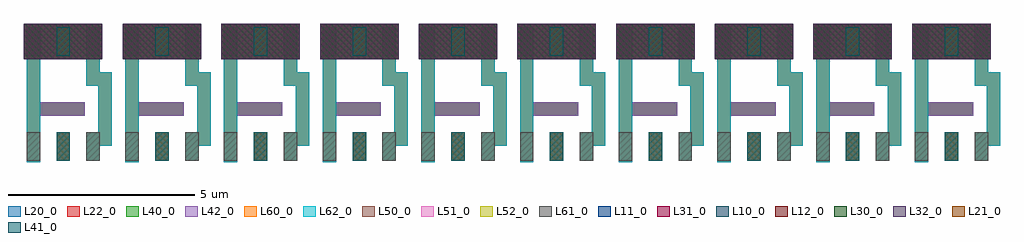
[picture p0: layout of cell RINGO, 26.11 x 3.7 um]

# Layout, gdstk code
import gdstk
lib = gdstk.Library(unit=1e-6, precision=1e-09)
def R(c, l, rs):  # rectangles x0, y0, x1, y1
    for r in rs: c.add(gdstk.rectangle(r[:2], r[2:], *l))
def A(c, l, x, y, w, h, nx, ny, dx, dy):  # array of equal rectangles
    R(c, l, [(x+i*dx, y+j*dy, x+i*dx+w, y+j*dy+h) for i in range(nx) for j in range(ny)])
def P(c, l, *ps):  # polygons
    for p in ps: c.add(gdstk.Polygon(p, *l))
L10_0 = (10, 0)
L11_0 = (11, 0)
L12_0 = (12, 0)
L20_0 = (20, 0)
L21_0 = (21, 0)
L22_0 = (22, 0)
L30_0 = (30, 0)
L31_0 = (31, 0)
L32_0 = (32, 0)
L40_0 = (40, 0)
L41_0 = (41, 0)
L42_0 = (42, 0)
L50_0 = (50, 0)
L51_0 = (51, 0)
L52_0 = (52, 0)
L60_0 = (60, 0)
L61_0 = (61, 0)
L62_0 = (62, 0)

trans = lib.new_cell('TRANS')
R(trans, L20_0, [(-0.58,-0.38,-0.22,0.38), (0.22,-0.38,0.58,0.38)])
R(trans, L22_0, [(-0.58,-0.38,-0.22,0.38), (0.22,-0.38,0.58,0.38)])
R(trans, L40_0, [(-0.58,-0.38,-0.22,0.38), (0.22,-0.38,0.58,0.38)])
R(trans, L42_0, [(-0.58,-0.38,-0.22,0.38), (0.22,-0.38,0.58,0.38)])
R(trans, L60_0, [(-0.58,-0.38,-0.22,0.38), (0.22,-0.38,0.58,0.38)])
R(trans, L61_0, [(-0.58,-0.38,-0.22,0.38), (0.22,-0.38,0.58,0.38)])
R(trans, L62_0, [(-0.58,-0.38,-0.22,0.38), (0.22,-0.38,0.58,0.38)])

inv2 = lib.new_cell('INV2')
R(inv2, L10_0, [(-1.05,2.325,1.05,3.275)])
R(inv2, L12_0, [(-1.05,2.325,1.05,3.275)])
R(inv2, L20_0, [(-0.98,-0.42,-0.62,-0.38)])
P(inv2, L20_0, [(-0.98,0.38),(-0.98,3.18),(-0.62,3.18),(-0.62,1.18),(0.58,1.18),(0.58,0.82),(-0.62,0.82),(-0.62,0.38)],
  [(-0.98,-0.42),(-0.98,2.42),(-0.62,2.42),(-0.62,1.18),(0.58,1.18),(0.58,0.82),(-0.62,0.82),(-0.62,-0.42)],
  [(0.98,0.02),(0.98,0.38),(0.94,0.38),(0.94,1.62),(0.62,1.62),(0.62,3.18),(0.98,3.18),(0.98,1.98),(1.3,1.98),(1.3,0.02)],
  [(0.62,-0.38),(0.62,0.38),(0.94,0.38),(0.94,1.62),(0.62,1.62),(0.62,2.42),(0.98,2.42),(0.98,1.98),(1.3,1.98),(1.3,0.02),(0.98,0.02),(0.98,-0.38)])
R(inv2, L21_0, [(-0.18,-0.38,0.18,0.38), (-0.18,2.42,0.18,3.18)])
R(inv2, L22_0, [(-0.98,-0.42,-0.62,-0.38)])
P(inv2, L22_0, [(-0.98,0.38),(-0.98,3.18),(-0.62,3.18),(-0.62,1.18),(0.58,1.18),(0.58,0.82),(-0.62,0.82),(-0.62,0.38)],
  [(-0.98,-0.42),(-0.98,2.42),(-0.62,2.42),(-0.62,1.18),(0.58,1.18),(0.58,0.82),(-0.62,0.82),(-0.62,-0.42)],
  [(0.98,0.02),(0.98,0.38),(0.94,0.38),(0.94,1.62),(0.62,1.62),(0.62,3.18),(0.98,3.18),(0.98,1.98),(1.3,1.98),(1.3,0.02)],
  [(0.62,-0.38),(0.62,0.38),(0.94,0.38),(0.94,1.62),(0.62,1.62),(0.62,2.42),(0.98,2.42),(0.98,1.98),(1.3,1.98),(1.3,0.02),(0.98,0.02),(0.98,-0.38)])
R(inv2, L30_0, [(-1.05,2.325,1.05,3.275)])
R(inv2, L32_0, [(-1.05,2.325,1.05,3.275)])
R(inv2, L40_0, [(-0.98,-0.42,-0.62,-0.38)])
P(inv2, L40_0, [(-0.98,0.38),(-0.98,3.18),(-0.62,3.18),(-0.62,1.18),(0.58,1.18),(0.58,0.82),(-0.62,0.82),(-0.62,0.38)],
  [(-0.98,-0.42),(-0.98,2.42),(-0.62,2.42),(-0.62,1.18),(0.58,1.18),(0.58,0.82),(-0.62,0.82),(-0.62,-0.42)],
  [(0.98,0.02),(0.98,0.38),(0.94,0.38),(0.94,1.62),(0.62,1.62),(0.62,3.18),(0.98,3.18),(0.98,1.98),(1.3,1.98),(1.3,0.02)],
  [(0.62,-0.38),(0.62,0.38),(0.94,0.38),(0.94,1.62),(0.62,1.62),(0.62,2.42),(0.98,2.42),(0.98,1.98),(1.3,1.98),(1.3,0.02),(0.98,0.02),(0.98,-0.38)])
R(inv2, L41_0, [(-0.18,-0.38,0.18,0.38), (-0.18,2.42,0.18,3.18)])
R(inv2, L42_0, [(-0.98,-0.42,-0.62,-0.38)])
P(inv2, L42_0, [(-0.98,0.38),(-0.98,3.18),(-0.62,3.18),(-0.62,1.18),(0.58,1.18),(0.58,0.82),(-0.62,0.82),(-0.62,0.38)],
  [(-0.98,-0.42),(-0.98,2.42),(-0.62,2.42),(-0.62,1.18),(0.58,1.18),(0.58,0.82),(-0.62,0.82),(-0.62,-0.42)],
  [(0.98,0.02),(0.98,0.38),(0.94,0.38),(0.94,1.62),(0.62,1.62),(0.62,3.18),(0.98,3.18),(0.98,1.98),(1.3,1.98),(1.3,0.02)],
  [(0.62,-0.38),(0.62,0.38),(0.94,0.38),(0.94,1.62),(0.62,1.62),(0.62,2.42),(0.98,2.42),(0.98,1.98),(1.3,1.98),(1.3,0.02),(0.98,0.02),(0.98,-0.38)])
R(inv2, L50_0, [(-1.05,2.325,0.25,3.275), (-0.25,2.325,1.05,3.275)])
R(inv2, L51_0, [(-1.05,2.325,0.25,3.275), (-0.25,2.325,1.05,3.275)])
R(inv2, L52_0, [(-1.05,2.325,0.25,3.275), (-0.25,2.325,1.05,3.275)])
R(inv2, L60_0, [(-0.98,-0.42,-0.62,-0.38), (-0.98,-0.42,-0.62,2.42), (-0.98,0.38,-0.62,2.42)])
P(inv2, L60_0, [(0.98,0.02),(0.98,0.38),(0.94,0.38),(0.94,1.62),(0.62,1.62),(0.62,2.42),(0.98,2.42),(0.98,1.98),(1.3,1.98),(1.3,0.02)],
  [(0.8,0.02),(0.8,0.38),(0.94,0.38),(0.94,1.62),(0.62,1.62),(0.62,2.42),(0.98,2.42),(0.98,1.98),(1.3,1.98),(1.3,0.02)])
R(inv2, L62_0, [(-0.98,-0.42,-0.62,-0.38), (-0.98,-0.42,-0.62,2.42), (-0.98,0.38,-0.62,2.42)])
P(inv2, L62_0, [(0.98,0.02),(0.98,0.38),(0.94,0.38),(0.94,1.62),(0.62,1.62),(0.62,2.42),(0.98,2.42),(0.98,1.98),(1.3,1.98),(1.3,0.02)],
  [(0.8,0.02),(0.8,0.38),(0.94,0.38),(0.94,1.62),(0.62,1.62),(0.62,2.42),(0.98,2.42),(0.98,1.98),(1.3,1.98),(1.3,0.02)])
inv2.add(gdstk.Reference(trans, (-0.4,0)))
inv2.add(gdstk.Reference(trans, (-0.4,2.8)))
inv2.add(gdstk.Reference(trans, (0.4,0), x_reflection=True))
inv2.add(gdstk.Reference(trans, (0.4,2.8), x_reflection=True))

ringo = lib.new_cell('RINGO')
A(ringo, L11_0, -1.05, 2.325, 2.1, 0.95, 10, 1, 2.64, 0)
A(ringo, L31_0, -1.05, 2.325, 2.1, 0.95, 10, 1, 2.64, 0)
ringo.add(gdstk.Reference(inv2, (0,0)))
ringo.add(gdstk.Reference(inv2, (2.64,0)))
ringo.add(gdstk.Reference(inv2, (5.28,0)))
ringo.add(gdstk.Reference(inv2, (7.92,0)))
ringo.add(gdstk.Reference(inv2, (10.56,0)))
ringo.add(gdstk.Reference(inv2, (13.2,0)))
ringo.add(gdstk.Reference(inv2, (15.84,0)))
ringo.add(gdstk.Reference(inv2, (18.48,0)))
ringo.add(gdstk.Reference(inv2, (21.12,0)))
ringo.add(gdstk.Reference(inv2, (23.76,0)))

lib.write_gds('RINGO.gds')
